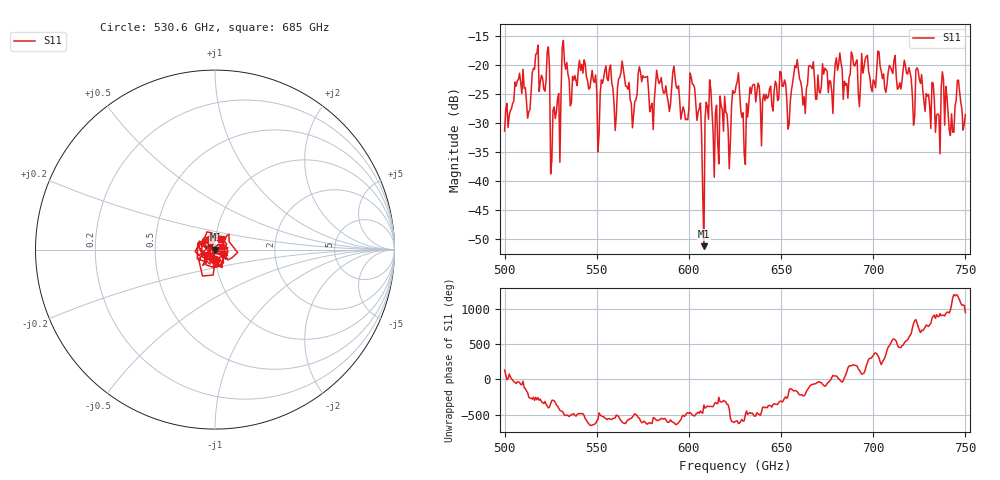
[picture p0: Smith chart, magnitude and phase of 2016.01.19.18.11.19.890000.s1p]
!Created with skrf (http://scikit-rf.org).
# GHz S RI R 50.0
!freq ReS11 ImS11
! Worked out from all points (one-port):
!   401 points, 500 GHz to 750 GHz, reference 50 ohm
!   lowest |S11| = -51.2 dB at 608.1 GHz (marker M1), VSWR 1.01, Z = 50.3 - j0.0246 ohm
!   |S11| at or under -10 dB: start of sweep to end of sweep
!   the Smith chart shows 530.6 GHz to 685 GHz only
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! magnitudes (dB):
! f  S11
! 500 GHz  -31.3
! 506.9 GHz  -22.7
! 513.1 GHz  -28.0
! 516.9 GHz  -18.1
! 523.1 GHz  -17.7
! 526.2 GHz  -27.8
! 531.2 GHz  -17.0
! 542.5 GHz  -21.4
! 551.2 GHz  -31.8
! 562.5 GHz  -22.1
! 569.4 GHz  -30.8
! 573.8 GHz  -21.2
! 580 GHz  -26.6
! 593.8 GHz  -24.1
! 598.8 GHz  -29.3
! 601.9 GHz  -23.3
! 608.1 GHz  -51.2
! 610.6 GHz  -29.3
! 615 GHz  -26.9
! 625 GHz  -24.7
! 629.4 GHz  -28.2
! 634.4 GHz  -23.6
! 656.2 GHz  -23.1
! 687.5 GHz  -21.6
! 718.8 GHz  -21.5
! 735 GHz  -28.4
! 738.1 GHz  -22.4
! 750 GHz  -28.5
